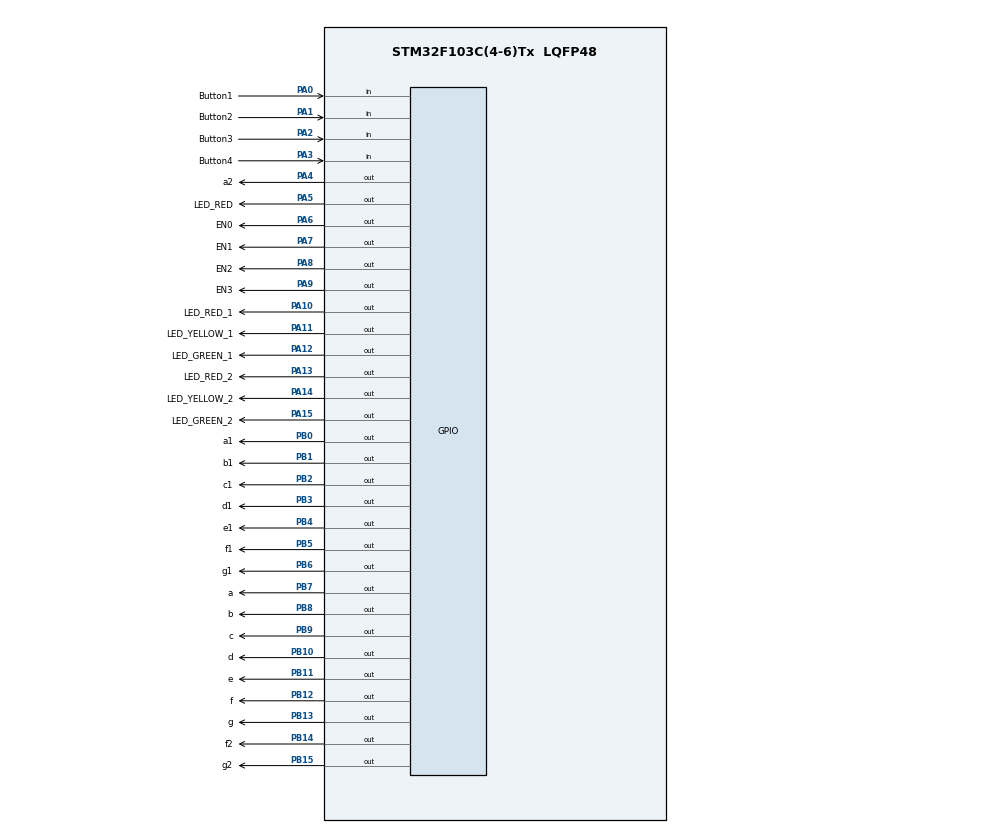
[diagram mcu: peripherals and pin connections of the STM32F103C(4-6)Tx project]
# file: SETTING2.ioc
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Mcu.Family=STM32F1
Mcu.Name=STM32F103C(4-6)Tx
Mcu.Package=LQFP48
NVIC.PriorityGroup=NVIC_PRIORITYGROUP_4
NVIC.TIM2_IRQn=true\:0\:0\:false\:false\:true\:true\:true
PA0-WKUP.GPIO_Label=Button1
PA0-WKUP.GPIO_PuPd=GPIO_PULLUP
PA0-WKUP.Signal=GPIO_Input
PA1.GPIO_Label=Button2
PA1.GPIO_PuPd=GPIO_PULLUP
PA1.Signal=GPIO_Input
PA10.GPIO_Label=LED_RED_1
PA10.Signal=GPIO_Output
PA11.GPIO_Label=LED_YELLOW_1
PA11.Signal=GPIO_Output
PA12.GPIO_Label=LED_GREEN_1
PA12.Signal=GPIO_Output
PA13.GPIO_Label=LED_RED_2
PA13.Signal=GPIO_Output
PA14.GPIO_Label=LED_YELLOW_2
PA14.Signal=GPIO_Output
PA15.GPIO_Label=LED_GREEN_2
PA15.Signal=GPIO_Output
PA2.GPIO_Label=Button3
PA2.GPIO_PuPd=GPIO_PULLUP
PA2.Signal=GPIO_Input
PA3.GPIO_Label=Button4
PA3.GPIO_PuPd=GPIO_PULLUP
PA3.Signal=GPIO_Input
PA4.GPIO_Label=a2
PA4.Signal=GPIO_Output
PA5.GPIO_Label=LED_RED
PA5.Signal=GPIO_Output
PA6.GPIO_Label=EN0
PA6.Signal=GPIO_Output
PA7.GPIO_Label=EN1
PA7.Signal=GPIO_Output
PA8.GPIO_Label=EN2
PA8.Signal=GPIO_Output
PA9.GPIO_Label=EN3
PA9.Signal=GPIO_Output
PB0.GPIO_Label=a1
PB0.Signal=GPIO_Output
PB1.GPIO_Label=b1
PB1.Signal=GPIO_Output
PB10.GPIO_Label=d
PB10.Signal=GPIO_Output
PB11.GPIO_Label=e
PB11.Signal=GPIO_Output
PB12.GPIO_Label=f
PB12.Signal=GPIO_Output
PB13.GPIO_Label=g
PB13.Signal=GPIO_Output
PB14.GPIO_Label=f2
PB14.Signal=GPIO_Output
PB15.GPIO_Label=g2
PB15.Signal=GPIO_Output
PB2.GPIO_Label=c1
PB2.Signal=GPIO_Output
PB3.GPIO_Label=d1
PB3.Signal=GPIO_Output
PB4.GPIO_Label=e1
PB4.Signal=GPIO_Output
PB5.GPIO_Label=f1
PB5.Signal=GPIO_Output
PB6.GPIO_Label=g1
PB6.Signal=GPIO_Output
PB7.GPIO_Label=a
PB7.Signal=GPIO_Output
PB8.GPIO_Label=b
PB8.Signal=GPIO_Output
PB9.GPIO_Label=c
PB9.Signal=GPIO_Output
ProjectManager.HeapSize=0x200
ProjectManager.StackSize=0x400
ProjectManager.TargetToolchain=STM32CubeIDE
RCC.APB1Freq_Value=8000000
RCC.APB2Freq_Value=8000000
TIM2.Period=9
TIM2.Prescaler=7999
VP_SYS_VS_ND.Mode=No_Debug
VP_TIM2_VS_ClockSourceINT.Mode=Internal
board=custom

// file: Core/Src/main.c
/* USER CODE BEGIN Header */
/**
  ******************************************************************************
  * @file           : main.c
  * @brief          : Main program body
  ******************************************************************************
  * @attention
  *
  * <h2><center>&copy; Copyright (c) 2024 STMicroelectronics.
  * All rights reserved.</center></h2>
  *
  * This software component is licensed by ST under BSD 3-Clause license,
  * the "License"; You may not use this file except in compliance with the
  * License. You may obtain a copy of the License at:
  *                        opensource.org/licenses/BSD-3-Clause
  *
  ******************************************************************************
  */
/* USER CODE END Header */
#include "main.h"

/* USER CODE BEGIN Includes */
#include "button.h"
#include "software_timer.h"
#include "led_traffic.h"
#include "Component_1.h"
#include "Component.h"
#include "fsm_automatic.h"
#include "fsm_setting.h"
/* USER CODE END Includes */

TIM_HandleTypeDef htim2;

void SystemClock_Config(void);
static void MX_TIM2_Init(void);
static void MX_GPIO_Init(void);

int main(void)
{

  /* MCU Configuration--------------------------------------------------------*/

  /* Reset of all peripherals, Initializes the Flash interface and the Systick. */
  HAL_Init();

  /* Configure the system clock */
  SystemClock_Config();

  /* Initialize all configured peripherals */
  MX_TIM2_Init();
  MX_GPIO_Init();
  /* USER CODE BEGIN 2 */
  HAL_TIM_Base_Start_IT(&htim2);
  /* USER CODE END 2 */

  /* Infinite loop */
  /* USER CODE BEGIN WHILE */
  setTimer(0, 1);
  setTimer(1, 1);
  setTimer(2, 1);
  setTimer(3, 1);
  while (1)
  {

	  fsm_manual();
	  fsm_setting();
    /* USER CODE END WHILE */

  }
}

void SystemClock_Config(void)
{
  RCC_OscInitTypeDef RCC_OscInitStruct = {0};
  RCC_ClkInitTypeDef RCC_ClkInitStruct = {0};

  /** Initializes the RCC Oscillators according to the specified parameters
  * in the RCC_OscInitTypeDef structure.
  */
  RCC_OscInitStruct.OscillatorType = RCC_OSCILLATORTYPE_HSI;
  RCC_OscInitStruct.HSIState = RCC_HSI_ON;
  RCC_OscInitStruct.HSICalibrationValue = RCC_HSICALIBRATION_DEFAULT;
  RCC_OscInitStruct.PLL.PLLState = RCC_PLL_NONE;
  if (HAL_RCC_OscConfig(&RCC_OscInitStruct) != HAL_OK)
  {
    Error_Handler();
  }
  /** Initializes the CPU, AHB and APB buses clocks
  */
  RCC_ClkInitStruct.ClockType = RCC_CLOCKTYPE_HCLK|RCC_CLOCKTYPE_SYSCLK
                              |RCC_CLOCKTYPE_PCLK1|RCC_CLOCKTYPE_PCLK2;
  RCC_ClkInitStruct.SYSCLKSource = RCC_SYSCLKSOURCE_HSI;
  RCC_ClkInitStruct.AHBCLKDivider = RCC_SYSCLK_DIV1;
  RCC_ClkInitStruct.APB1CLKDivider = RCC_HCLK_DIV1;
  RCC_ClkInitStruct.APB2CLKDivider = RCC_HCLK_DIV1;

  if (HAL_RCC_ClockConfig(&RCC_ClkInitStruct, FLASH_LATENCY_0) != HAL_OK)
  {
    Error_Handler();
  }
}

static void MX_TIM2_Init(void)
{

  TIM_ClockConfigTypeDef sClockSourceConfig = {0};
  TIM_MasterConfigTypeDef sMasterConfig = {0};

  htim2.Instance = TIM2;
  htim2.Init.Prescaler = 7999;
  htim2.Init.CounterMode = TIM_COUNTERMODE_UP;
  htim2.Init.Period = 9;
  htim2.Init.ClockDivision = TIM_CLOCKDIVISION_DIV1;
  htim2.Init.AutoReloadPreload = TIM_AUTORELOAD_PRELOAD_DISABLE;
  if (HAL_TIM_Base_Init(&htim2) != HAL_OK)
  {
    Error_Handler();
  }
  sClockSourceConfig.ClockSource = TIM_CLOCKSOURCE_INTERNAL;
  if (HAL_TIM_ConfigClockSource(&htim2, &sClockSourceConfig) != HAL_OK)
  {
    Error_Handler();
  }
  sMasterConfig.MasterOutputTrigger = TIM_TRGO_RESET;
  sMasterConfig.MasterSlaveMode = TIM_MASTERSLAVEMODE_DISABLE;
  if (HAL_TIMEx_MasterConfigSynchronization(&htim2, &sMasterConfig) != HAL_OK)
  {
    Error_Handler();
  }

}

static void MX_GPIO_Init(void)
{
  GPIO_InitTypeDef GPIO_InitStruct = {0};

  /* GPIO Ports Clock Enable */
  __HAL_RCC_GPIOA_CLK_ENABLE();
  __HAL_RCC_GPIOB_CLK_ENABLE();

  /*Configure GPIO pin Output Level */
  HAL_GPIO_WritePin(GPIOA, a2_Pin|LED_RED_Pin|EN0_Pin|EN1_Pin
                          |EN2_Pin|EN3_Pin|LED_RED_1_Pin|LED_YELLOW_1_Pin
                          |LED_GREEN_1_Pin|LED_RED_2_Pin|LED_YELLOW_2_Pin|LED_GREEN_2_Pin, GPIO_PIN_RESET);

  /*Configure GPIO pin Output Level */
  HAL_GPIO_WritePin(GPIOB, a1_Pin|b1_Pin|c1_Pin|d_Pin
                          |e_Pin|f_Pin|g_Pin|f2_Pin
                          |g2_Pin|d1_Pin|e1_Pin|f1_Pin
                          |g1_Pin|a_Pin|b_Pin|c_Pin, GPIO_PIN_RESET);

  /*Configure GPIO pins : Button1_Pin Button2_Pin Button3_Pin Button4_Pin */
  GPIO_InitStruct.Pin = Button1_Pin|Button2_Pin|Button3_Pin|Button4_Pin;
  GPIO_InitStruct.Mode = GPIO_MODE_INPUT;
  GPIO_InitStruct.Pull = GPIO_PULLUP;
  HAL_GPIO_Init(GPIOA, &GPIO_InitStruct);

  /*Configure GPIO pins : a2_Pin LED_RED_Pin EN0_Pin EN1_Pin
                           EN2_Pin EN3_Pin LED_RED_1_Pin LED_YELLOW_1_Pin
                           LED_GREEN_1_Pin LED_RED_2_Pin LED_YELLOW_2_Pin LED_GREEN_2_Pin */
  GPIO_InitStruct.Pin = a2_Pin|LED_RED_Pin|EN0_Pin|EN1_Pin
                          |EN2_Pin|EN3_Pin|LED_RED_1_Pin|LED_YELLOW_1_Pin
                          |LED_GREEN_1_Pin|LED_RED_2_Pin|LED_YELLOW_2_Pin|LED_GREEN_2_Pin;
  GPIO_InitStruct.Mode = GPIO_MODE_OUTPUT_PP;
  GPIO_InitStruct.Pull = GPIO_NOPULL;
  GPIO_InitStruct.Speed = GPIO_SPEED_FREQ_LOW;
  HAL_GPIO_Init(GPIOA, &GPIO_InitStruct);

  /*Configure GPIO pins : a1_Pin b1_Pin c1_Pin d_Pin
                           e_Pin f_Pin g_Pin f2_Pin
                           g2_Pin d1_Pin e1_Pin f1_Pin
                           g1_Pin a_Pin b_Pin c_Pin */
  GPIO_InitStruct.Pin = a1_Pin|b1_Pin|c1_Pin|d_Pin
                          |e_Pin|f_Pin|g_Pin|f2_Pin
                          |g2_Pin|d1_Pin|e1_Pin|f1_Pin
                          |g1_Pin|a_Pin|b_Pin|c_Pin;
  GPIO_InitStruct.Mode = GPIO_MODE_OUTPUT_PP;
  GPIO_InitStruct.Pull = GPIO_NOPULL;
  GPIO_InitStruct.Speed = GPIO_SPEED_FREQ_LOW;
  HAL_GPIO_Init(GPIOB, &GPIO_InitStruct);

}

/* USER CODE BEGIN 4 */
void HAL_TIM_PeriodElapsedCallback ( TIM_HandleTypeDef * htim )
{
	timerRun();
	getKeyInput();
}
/* USER CODE END 4 */

void Error_Handler(void)
{
  __disable_irq();
  while (1)
  {
  }
}

/************************ (C) COPYRIGHT STMicroelectronics *****END OF FILE****/
